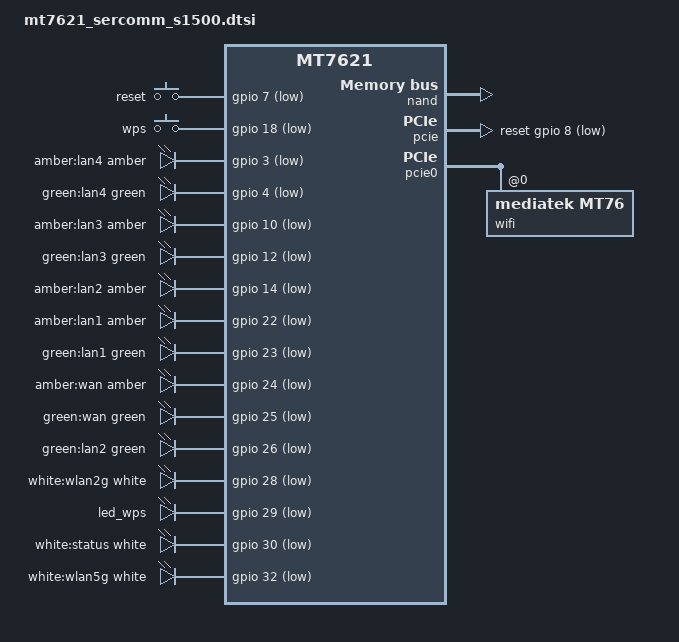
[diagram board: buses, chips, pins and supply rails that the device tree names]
// SPDX-License-Identifier: GPL-2.0-or-later

#include "mt7621.dtsi"

#include <dt-bindings/gpio/gpio.h>
#include <dt-bindings/input/input.h>
#include <dt-bindings/leds/common.h>

/ {
	aliases {
		led-boot = &led_status;
		led-running = &led_status;
		led-upgrade = &led_wps;
		led-failsafe = &led_wps;
	};

	keys {
		compatible = "gpio-keys";

		reset {
			label = "reset";
			gpios = <&gpio 7 GPIO_ACTIVE_LOW>;
			linux,code = <KEY_RESTART>;
		};

		wps {
			label = "wps";
			gpios = <&gpio 18 GPIO_ACTIVE_LOW>;
			linux,code = <KEY_WPS_BUTTON>;
		};
	};

	leds {
		compatible = "gpio-leds";

		led-0 {
			label = "amber:lan4";
			color = <LED_COLOR_ID_AMBER>;
			function = LED_FUNCTION_LAN;
			function-enumerator = <0>;
			linux,default-trigger = "mt7530-0:00:1Gbps";
			gpios = <&gpio 3 GPIO_ACTIVE_LOW>;
		};

		led-1 {
			label = "green:lan4";
			color = <LED_COLOR_ID_GREEN>;
			function = LED_FUNCTION_LAN;
			function-enumerator = <1>;
			gpios = <&gpio 4 GPIO_ACTIVE_LOW>;
		};

		led-2 {
			label = "amber:lan3";
			color = <LED_COLOR_ID_AMBER>;
			function = LED_FUNCTION_LAN;
			function-enumerator = <2>;
			linux,default-trigger = "mt7530-0:01:1Gbps";
			gpios = <&gpio 10 GPIO_ACTIVE_LOW>;
		};

		led-3 {
			label = "green:lan3";
			color = <LED_COLOR_ID_GREEN>;
			function = LED_FUNCTION_LAN;
			function-enumerator = <3>;
			gpios = <&gpio 12 GPIO_ACTIVE_LOW>;
		};

		led-4 {
			label = "amber:lan2";
			color = <LED_COLOR_ID_AMBER>;
			function = LED_FUNCTION_LAN;
			function-enumerator = <4>;
			linux,default-trigger = "mt7530-0:02:1Gbps";
			gpios = <&gpio 14 GPIO_ACTIVE_LOW>;
		};

		led-5 {
			label = "amber:lan1";
			color = <LED_COLOR_ID_AMBER>;
			function = LED_FUNCTION_LAN;
			function-enumerator = <5>;
			linux,default-trigger = "mt7530-0:03:1Gbps";
			gpios = <&gpio 22 GPIO_ACTIVE_LOW>;
		};

		led-6 {
			label = "green:lan1";
			color = <LED_COLOR_ID_GREEN>;
			function = LED_FUNCTION_LAN;
			function-enumerator = <6>;
			gpios = <&gpio 23 GPIO_ACTIVE_LOW>;
		};

		led-7 {
			label = "amber:wan";
			color = <LED_COLOR_ID_AMBER>;
			function = LED_FUNCTION_WAN;
			function-enumerator = <0>;
			linux,default-trigger = "mt7530-0:04:1Gbps";
			gpios = <&gpio 24 GPIO_ACTIVE_LOW>;
		};

		led-8 {
			label = "green:wan";
			color = <LED_COLOR_ID_GREEN>;
			function = LED_FUNCTION_WAN;
			function-enumerator = <1>;
			gpios = <&gpio 25 GPIO_ACTIVE_LOW>;
		};

		led-9 {
			label = "green:lan2";
			color = <LED_COLOR_ID_GREEN>;
			function = LED_FUNCTION_LAN;
			function-enumerator = <7>;
			gpios = <&gpio 26 GPIO_ACTIVE_LOW>;
		};

		led-10 {
			label = "white:wlan2g";
			color = <LED_COLOR_ID_WHITE>;
			function = LED_FUNCTION_WLAN;
			function-enumerator = <0>;
			linux,default-trigger = "phy1radio";
			gpios = <&gpio 28 GPIO_ACTIVE_LOW>;
		};

		led_wps: led-11 {
			function = LED_FUNCTION_WPS;
			function-enumerator = <0>;
			gpios = <&gpio 29 GPIO_ACTIVE_LOW>;
			panic-indicator;
		};

		led_status: led-12 {
			label = "white:status";
			color = <LED_COLOR_ID_WHITE>;
			function = LED_FUNCTION_STATUS;
			function-enumerator = <0>;
			gpios = <&gpio 30 GPIO_ACTIVE_LOW>;
		};

		led-13 {
			label = "white:wlan5g";
			color = <LED_COLOR_ID_WHITE>;
			function = LED_FUNCTION_WLAN;
			function-enumerator = <1>;
			linux,default-trigger = "phy0radio";
			gpios = <&gpio 32 GPIO_ACTIVE_LOW>;
		};
	};
};

&ethernet {
	pinctrl-0 = <&mdio_pins>, <&rgmii1_pins>;
};

&gmac0 {
	nvmem-cells = <&macaddr_factory_1000 0>;
	nvmem-cell-names = "mac-address";
};

&nand {
	status = "okay";

	partitions: partitions {
		compatible = "fixed-partitions";
		#address-cells = <1>;
		#size-cells = <1>;

		partition@0 {
			label = "u-boot";
			reg = <0x0 0x100000>;
			read-only;
		};

		factory: partition@100000 {
			label = "Factory";
			reg = <0x100000 0x100000>;
			read-only;

			nvmem-layout {
				compatible = "fixed-layout";
				#address-cells = <1>;
				#size-cells = <1>;

				eeprom_factory_0: eeprom@0 {
					reg = <0x0 0x200>;
				};

				eeprom_factory_8000: eeprom@8000 {
					reg = <0x8000 0x200>;
				};

				macaddr_factory_1000: macaddr@1000 {
					compatible = "mac-base";
					reg = <0x1000 0x6>;
					#nvmem-cell-cells = <1>;
				};
			};
		};

		partition@1600000 {
			label = "boot_flag";
			reg = <0x1600000 0x100000>;
		};

		partition@1700000 {
			label = "kernel";
			reg = <0x1700000 0x400000>;
		};

		partition@1b00000 {
			label = "Kernel_2";
			reg = <0x1b00000 0x400000>;
			read-only;
		};
	};
};

&pcie {
	status = "okay";

	reset-gpios = <&gpio 8 GPIO_ACTIVE_LOW>,
		<&gpio 19 GPIO_ACTIVE_LOW>;
};

&pcie0 {
	wifi@0,0 {
		compatible = "mediatek,mt76";
		reg = <0x0000 0 0 0 0>;
		ieee80211-freq-limit = <5000000 6000000>;

		nvmem-cells = <&eeprom_factory_8000>, <&macaddr_factory_1000 2>;
		nvmem-cell-names = "eeprom", "mac-address";
	};
};

&state_default {
	gpio {
		groups = "wdt", "uart3", "jtag", "uart2", "i2c", "rgmii2";
		function = "gpio";
	};
};

&switch0 {
	ports {
		port@0 {
			status = "okay";
			label = "lan4";
		};

		port@1 {
			status = "okay";
			label = "lan3";
		};

		port@2 {
			status = "okay";
			label = "lan2";
		};

		port@3 {
			status = "okay";
			label = "lan1";
		};

		wan: port@4 {
			status = "okay";
			label = "wan";

			nvmem-cells = <&macaddr_factory_1000 1>;
			nvmem-cell-names = "mac-address";
		};
	};
};
